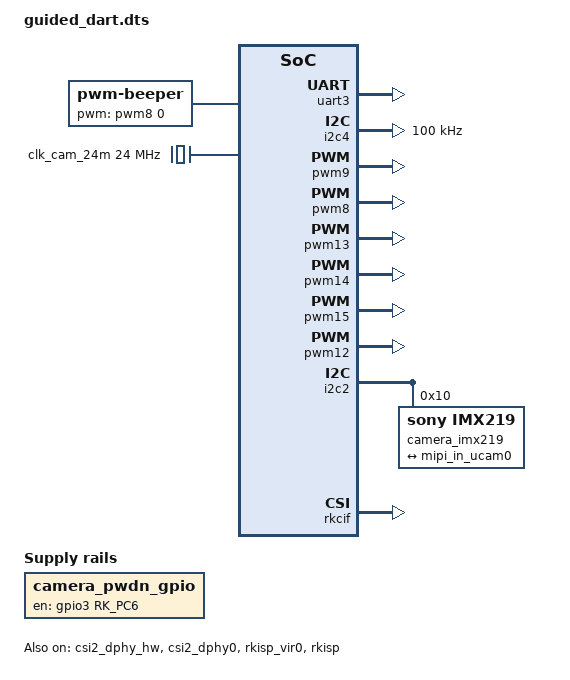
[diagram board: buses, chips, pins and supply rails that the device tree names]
// 制导飞镖主板扩展板专属的设备树插件
/dts-v1/;
/plugin/;

#include <dt-bindings/pinctrl/rockchip.h>
#include <dt-bindings/gpio/gpio.h>
#include <dt-bindings/display/media-bus-format.h>

/ {
	metadata {
		title = "Guided Dart Device Tree Overlay";
		compatible = "radxa,zero3";
		category = "misc";
		exclusive = "GPIO3_B1";
		description = "Enable Buzzer, BQ40Z50 fuel gauge and flying light on Guided Dart board.";
	};
	
	// PWM Buzzer on PWM8-M0
	fragment@10 {
		target-path = "/";
		__overlay__ {
			beeper: pwm-beeper {
				compatible = "pwm-beeper";
				pwms = <&pwm8 0 5000 0>;
				status = "okay";
			};
		};
	};

	// NO Eternet and GMAC1
	fragment@11 {
		target = <&mdio1>;

		__overlay__ {
			status = "disabled";
		};
	};

	fragment@12 {
		target = <&gmac1>;

		__overlay__ {
			status = "disabled";
		};
	};

	fragment@13 {
		target-path = "/";

		__overlay__ {
			clk_cam_24m: external-camera-clock-24m {
				status = "okay";
				compatible = "fixed-clock";
				clock-frequency = <24000000>;
				clock-output-names = "clk_cam_24m";
				#clock-cells = <0>;
			};

			camera_pwdn_gpio: camera-pwdn-gpio {
				status = "okay";
				compatible = "regulator-fixed";
				regulator-name = "camera_pwdn_gpio";
				regulator-always-on;
				regulator-boot-on;
				enable-active-high;
				gpio = <&gpio3 RK_PC6 GPIO_ACTIVE_HIGH>;
			};
		};
	};

	fragment@14 {
		target = <&i2c2>;

		__overlay__ {
			status = "okay";
			pinctrl-names = "default";
			pinctrl-0 = <&i2c2m1_xfer>;
			#address-cells = <1>;
			#size-cells = <0>;

			camera_imx219: camera-imx219@10 {
				status = "okay";
				compatible = "sony,imx219";
				reg = <0x10>;
				clocks = <&clk_cam_24m>;
				clock-names = "xvclk";
				rockchip,camera-module-index = <0>;
				rockchip,camera-module-facing = "back";
				rockchip,camera-module-name = "rpi-camera-v2";
				rockchip,camera-module-lens-name = "default";

				port {
					ucam_out0: endpoint {
						remote-endpoint = <&mipi_in_ucam0>;
						data-lanes = <1 2>;
					};
				};

				/* support mode config start */
				support-mode-config {
					status = "okay";
					bus-format = <MEDIA_BUS_FMT_UYVY8_2X8>;
					sensor-width = <800>;
					sensor-height = <600>;
					max-fps-numerator = <10000>;
					max-fps-denominator = <1200000>;
					bpp = <16>;
					link-freq-idx = <20>;
				};
			};
		};
	};

	fragment@15 {
		target = <&csi2_dphy_hw>;

		__overlay__ {
			status = "okay";
		};
	};

	fragment@16 {
		target = <&csi2_dphy0>;

		__overlay__ {
			status = "okay";

			ports {
				#address-cells = <1>;
				#size-cells = <0>;

				port@0 {
					reg = <0>;
					#address-cells = <1>;
					#size-cells = <0>;

					mipi_in_ucam0: endpoint@1 {
						reg = <1>;
						remote-endpoint = <&ucam_out0>;
						data-lanes = <1 2>;
					};
				};

				port@1 {
					reg = <1>;
					#address-cells = <1>;
					#size-cells = <0>;

					dphy0_out: endpoint@1 {
						reg = <1>;
						remote-endpoint = <&isp0_in>;
					};
				};
			};
		};
	};

	fragment@17 {
		target = <&rkisp_vir0>;

		__overlay__ {
			status = "okay";

			port {
				#address-cells = <1>;
				#size-cells = <0>;

				isp0_in: endpoint@0 {
					reg = <0>;
					remote-endpoint = <&dphy0_out>;
				};
			};
		};
	};

	fragment@18 {
		target = <&rkisp>;

		__overlay__ {
			status = "okay";
		};
	};

	fragment@19 {
		target = <&rkisp_mmu>;

		__overlay__ {
			status = "okay";
		};
	};

	fragment@20 {
		target = <&rkcif_mmu>;

		__overlay__ {
			status = "okay";
		};
	};

	fragment@21 {
		target = <&rkcif>;

		__overlay__ {
			status = "okay";
		};
	};

};

// 在gpio_leds节点下追加两个LED节点
&gpio_leds {
	green_flylight: green-flylight {
		linux,default-trigger = "none";
		default-state = "off";
		// GPIO3_B2
		gpios = <&gpio3 RK_PB3 GPIO_ACTIVE_HIGH>;
		pinctrl-0 = <&green_flylight_pin>;
	};
	
	red_flylight: red-flylight {
		linux,default-trigger = "none";
		default-state = "off";
		// GPIO3_C3
		gpios = <&gpio3 RK_PC3 GPIO_ACTIVE_HIGH>;
		pinctrl-0 = <&red_flylight_pin>;
	};
};

&pinctrl {
	flylight{
		green_flylight_pin: green-flylight-pin {
			rockchip,pins = <3 RK_PB3 RK_FUNC_GPIO &pcfg_pull_none>;
		};
		
		red_flylight_pin: red-flylight-pin {
			rockchip,pins = <3 RK_PC3 RK_FUNC_GPIO &pcfg_pull_none>;
		};
	};
};

&uart3 {
	status = "okay";
	pinctrl-names = "default";
	pinctrl-0 = <&uart3m0_xfer>;
};

&i2c4 {
	status = "okay";
	pinctrl-names = "default";
	pinctrl-0 = <&i2c4m0_xfer>;
	clock-frequency = <100000>;
};

&pwm9 {
	status = "okay";
	pinctrl-names = "active";
	pinctrl-0 = <&pwm9m0_pins>;
};

// Enable PWM8-M0
&pwm8 {
	status = "okay";
	pinctrl-names = "active";
	pinctrl-0 = <&pwm8m0_pins>;
};

&pwm13 {
	status = "okay";
	pinctrl-names = "active";
	pinctrl-0 = <&pwm13m1_pins>;
};

&pwm14 {
	status = "okay";
	pinctrl-names = "active";
	pinctrl-0 = <&pwm14m0_pins>;
};

&pwm15 {
	status = "okay";
	pinctrl-names = "active";
	pinctrl-0 = <&pwm15m1_pins>;
};

&pwm12 {
	status = "okay";
	pinctrl-names = "active";
	pinctrl-0 = <&pwm12m1_pins>;
};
